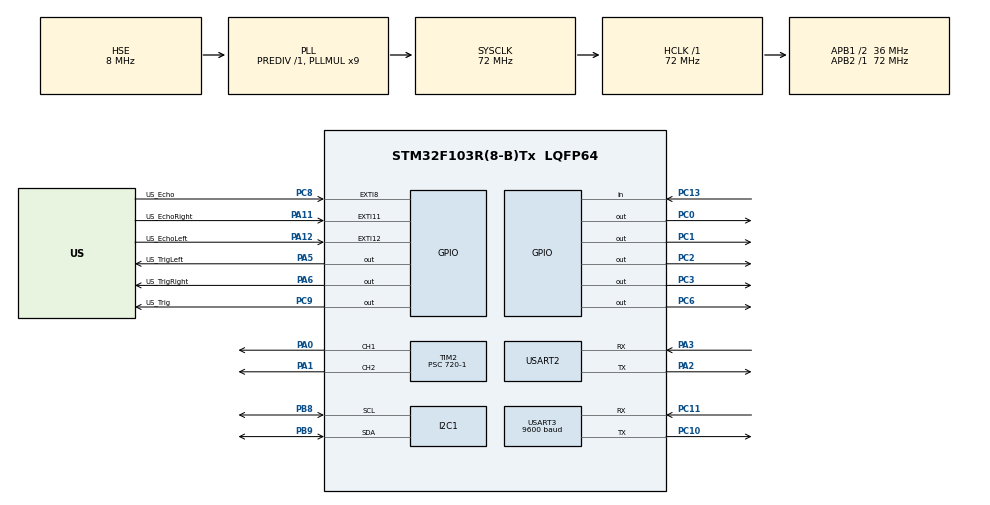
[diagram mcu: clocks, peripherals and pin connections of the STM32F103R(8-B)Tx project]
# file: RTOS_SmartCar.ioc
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FREERTOS.Mutexes01=LcdMutex,Dynamic,NULL
FREERTOS.Tasks01=defaultTask,0,128,StartDefaultTask,Default,NULL,Dynamic,NULL,NULL;Task_MotorContr,0,128,MotorControl_Task,Default,NULL,Dynamic,NULL,NULL;Task_DirControl,-3,128,DirController_Task,Default,NULL,Dynamic,NULL,NULL;Task_CarHorn,-3,128,CarHorn_Task,Default,NULL,Dynamic,NULL,NULL
FREERTOS.configUSE_NEWLIB_REENTRANT=1
Mcu.Family=STM32F1
Mcu.Name=STM32F103R(8-B)Tx
Mcu.Package=LQFP64
NVIC.EXTI15_10_IRQn=true\:5\:0\:false\:false\:true\:true\:true\:true
NVIC.EXTI9_5_IRQn=true\:5\:0\:false\:false\:true\:true\:true\:true
NVIC.PriorityGroup=NVIC_PRIORITYGROUP_4
NVIC.TIM4_IRQn=true\:15\:0\:false\:false\:true\:false\:false\:true
NVIC.TimeBase=TIM4_IRQn
NVIC.TimeBaseIP=TIM4
NVIC.USART3_IRQn=true\:5\:0\:false\:false\:true\:true\:true\:true
PA0-WKUP.Signal=S_TIM2_CH1_ETR
PA1.Signal=S_TIM2_CH2
PA11.GPIO_Label=US_EchoRight
PA11.GPIO_ModeDefaultEXTI=GPIO_MODE_IT_RISING_FALLING
PA11.Signal=GPXTI11
PA12.GPIO_Label=US_EchoLeft
PA12.GPIO_ModeDefaultEXTI=GPIO_MODE_IT_RISING_FALLING
PA12.Signal=GPXTI12
PA13.Mode=Serial_Wire
PA13.Signal=SYS_JTMS-SWDIO
PA14.Mode=Serial_Wire
PA14.Signal=SYS_JTCK-SWCLK
PA2.Mode=Asynchronous
PA2.Signal=USART2_TX
PA3.Mode=Asynchronous
PA3.Signal=USART2_RX
PA5.GPIO_Label=US_TrigLeft
PA5.Signal=GPIO_Output
PA6.GPIO_Label=US_TrigRight
PA6.Signal=GPIO_Output
PB8.Mode=I2C
PB8.Signal=I2C1_SCL
PB9.Mode=I2C
PB9.Signal=I2C1_SDA
PC0.Signal=GPIO_Output
PC1.Signal=GPIO_Output
PC10.Mode=Asynchronous
PC10.Signal=USART3_TX
PC11.Mode=Asynchronous
PC11.Signal=USART3_RX
PC13-TAMPER-RTC.Signal=GPIO_Input
PC2.Signal=GPIO_Output
PC3.Signal=GPIO_Output
PC6.Signal=GPIO_Output
PC8.GPIO_Label=US_Echo
PC8.GPIO_ModeDefaultEXTI=GPIO_MODE_IT_RISING_FALLING
PC8.Signal=GPXTI8
PC9.GPIO_Label=US_Trig
PC9.Signal=GPIO_Output
PD0-OSC_IN.Mode=HSE-External-Oscillator
PD0-OSC_IN.Signal=RCC_OSC_IN
PD1-OSC_OUT.Mode=HSE-External-Oscillator
PD1-OSC_OUT.Signal=RCC_OSC_OUT
ProjectManager.HeapSize=0x200
ProjectManager.StackSize=0x400
ProjectManager.TargetToolchain=STM32CubeIDE
RCC.AHBFreq_Value=72000000
RCC.APB1CLKDivider=RCC_HCLK_DIV2
RCC.APB1Freq_Value=36000000
RCC.APB1TimFreq_Value=72000000
RCC.APB2Freq_Value=72000000
RCC.APB2TimFreq_Value=72000000
RCC.HCLKFreq_Value=72000000
RCC.PLLMUL=RCC_PLL_MUL9
RCC.PLLSourceVirtual=RCC_PLLSOURCE_HSE
RCC.SYSCLKFreq_VALUE=72000000
RCC.SYSCLKSource=RCC_SYSCLKSOURCE_PLLCLK
RCC.USBFreq_Value=72000000
SH.S_TIM2_CH1_ETR.0=TIM2_CH1,PWM Generation1 CH1
SH.S_TIM2_CH2.0=TIM2_CH2,PWM Generation2 CH2
TIM2.AutoReloadPreload=TIM_AUTORELOAD_PRELOAD_ENABLE
TIM2.Channel-PWM\ Generation1\ CH1=TIM_CHANNEL_1
TIM2.Channel-PWM\ Generation2\ CH2=TIM_CHANNEL_2
TIM2.OCFastMode_PWM-PWM\ Generation1\ CH1=TIM_OCFAST_ENABLE
TIM2.OCFastMode_PWM-PWM\ Generation2\ CH2=TIM_OCFAST_ENABLE
TIM2.Period=100-1
TIM2.Prescaler=720-1
TIM2.Pulse-PWM\ Generation1\ CH1=70
TIM2.Pulse-PWM\ Generation2\ CH2=70
TIM3.Prescaler=720-1
USART2.VirtualMode=VM_ASYNC
USART3.BaudRate=9600
USART3.VirtualMode=VM_ASYNC
VP_FREERTOS_VS_CMSIS_V1.Mode=CMSIS_V1
VP_SYS_VS_tim4.Mode=TIM4
VP_TIM2_VS_ClockSourceINT.Mode=Internal
VP_TIM3_VS_ClockSourceINT.Mode=Internal
board=custom

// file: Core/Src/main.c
/* USER CODE BEGIN Header */
/**
  ******************************************************************************
  * @file           : main.c
  * @brief          : Main program body
  ******************************************************************************
  * @attention
  *
  * Copyright (c) 2022 STMicroelectronics.
  * All rights reserved.
  *
  * This software is licensed under terms that can be found in the LICENSE file
  * in the root directory of this software component.
  * If no LICENSE file comes with this software, it is provided AS-IS.
  *
  ******************************************************************************
  */
/* USER CODE END Header */
#include "main.h"
#include "cmsis_os.h"

/* USER CODE BEGIN Includes */
#include <stdio.h>
#include <string.h>
/* USER CODE END Includes */

I2C_HandleTypeDef hi2c1;

TIM_HandleTypeDef htim2;
TIM_HandleTypeDef htim3;

UART_HandleTypeDef huart2;
UART_HandleTypeDef huart3;

osThreadId defaultTaskHandle;
osThreadId Task_MotorContrHandle;
osThreadId Task_DirControlHandle;
osThreadId Task_CarHornHandle;
osMutexId LcdMutexHandle;

void SystemClock_Config(void);
static void MX_GPIO_Init(void);
static void MX_TIM2_Init(void);
static void MX_TIM3_Init(void);
static void MX_USART2_UART_Init(void);
static void MX_I2C1_Init(void);
static void MX_USART3_UART_Init(void);
void StartDefaultTask(void const * argument);
void MotorControl_Task(void const * argument);
void DirController_Task(void const * argument);
void CarHorn_Task(void const * argument);

/* USER CODE BEGIN 0 */
void HAL_GPIO_EXTI_Callback(uint16_t GPIO_Pin) {
	if(GPIO_Pin == GPIO_PIN_8) {	// Front
		if(HAL_GPIO_ReadPin(US_Echo_GPIO_Port, US_Echo_Pin)) {		// Rising, Transmit sound
			US_StartCount(&hUS_FrontSensor);
		} else {	// Falling, Receive sound
			US_ReadCount(&hUS_FrontSensor);
		}
	}

	if(GPIO_Pin == GPIO_PIN_12) {	// Left
		if(HAL_GPIO_ReadPin(US_EchoLeft_GPIO_Port, US_EchoLeft_Pin)) {		// Rising, Transmit sound
			US_StartCount(&hUS_LeftSensor);
		} else {	// Falling, Receive sound
			US_ReadCount(&hUS_LeftSensor);
		}
	}

	if(GPIO_Pin == GPIO_PIN_11) {	// Right
		if(HAL_GPIO_ReadPin(US_EchoRight_GPIO_Port, US_EchoRight_Pin)) {		// Rising, Transmit sound
			US_StartCount(&hUS_RightSensor);
		} else {	// Falling, Receive sound
			US_ReadCount(&hUS_RightSensor);
		}
	}
}

volatile uint8_t bleRxData;		// volatile -> �????�� 최적?�� 금�?

void HAL_UART_RxCpltCallback(UART_HandleTypeDef *huart) {
  if(huart->Instance == USART3) {
	  BLE_ISR_Process(bleRxData);
	  HAL_UART_Receive_IT(&huart3, &bleRxData, 1);
  }
}
/* USER CODE END 0 */

int main(void)
{

  /* MCU Configuration--------------------------------------------------------*/

  /* Reset of all peripherals, Initializes the Flash interface and the Systick. */
  HAL_Init();

  /* Configure the system clock */
  SystemClock_Config();

  /* Initialize all configured peripherals */
  MX_GPIO_Init();
  MX_TIM2_Init();
  MX_TIM3_Init();
  MX_USART2_UART_Init();
  MX_I2C1_Init();
  MX_USART3_UART_Init();
  /* USER CODE BEGIN 2 */
  LCD_Init();
  HAL_UART_Receive_IT(&huart3, &bleRxData, 1);
  /* USER CODE END 2 */

  /* Create the mutex(es) */
  /* definition and creation of LcdMutex */
  osMutexDef(LcdMutex);
  LcdMutexHandle = osMutexCreate(osMutex(LcdMutex));

  /* Create the thread(s) */
  /* definition and creation of defaultTask */
  osThreadDef(defaultTask, StartDefaultTask, osPriorityNormal, 0, 128);
  defaultTaskHandle = osThreadCreate(osThread(defaultTask), NULL);

  /* definition and creation of Task_MotorContr */
  osThreadDef(Task_MotorContr, MotorControl_Task, osPriorityNormal, 0, 128);
  Task_MotorContrHandle = osThreadCreate(osThread(Task_MotorContr), NULL);

  /* definition and creation of Task_DirControl */
  osThreadDef(Task_DirControl, DirController_Task, osPriorityIdle, 0, 128);
  Task_DirControlHandle = osThreadCreate(osThread(Task_DirControl), NULL);

  /* definition and creation of Task_CarHorn */
  osThreadDef(Task_CarHorn, CarHorn_Task, osPriorityIdle, 0, 128);
  Task_CarHornHandle = osThreadCreate(osThread(Task_CarHorn), NULL);

  /* Start scheduler */
  osKernelStart();

  /* We should never get here as control is now taken by the scheduler */
  /* Infinite loop */
  while (1)
  {

  }
}

void SystemClock_Config(void)
{
  RCC_OscInitTypeDef RCC_OscInitStruct = {0};
  RCC_ClkInitTypeDef RCC_ClkInitStruct = {0};

  /** Initializes the RCC Oscillators according to the specified parameters
  * in the RCC_OscInitTypeDef structure.
  */
  RCC_OscInitStruct.OscillatorType = RCC_OSCILLATORTYPE_HSE;
  RCC_OscInitStruct.HSEState = RCC_HSE_ON;
  RCC_OscInitStruct.HSEPredivValue = RCC_HSE_PREDIV_DIV1;
  RCC_OscInitStruct.HSIState = RCC_HSI_ON;
  RCC_OscInitStruct.PLL.PLLState = RCC_PLL_ON;
  RCC_OscInitStruct.PLL.PLLSource = RCC_PLLSOURCE_HSE;
  RCC_OscInitStruct.PLL.PLLMUL = RCC_PLL_MUL9;
  if (HAL_RCC_OscConfig(&RCC_OscInitStruct) != HAL_OK)
  {
    Error_Handler();
  }
  /** Initializes the CPU, AHB and APB buses clocks
  */
  RCC_ClkInitStruct.ClockType = RCC_CLOCKTYPE_HCLK|RCC_CLOCKTYPE_SYSCLK
                              |RCC_CLOCKTYPE_PCLK1|RCC_CLOCKTYPE_PCLK2;
  RCC_ClkInitStruct.SYSCLKSource = RCC_SYSCLKSOURCE_PLLCLK;
  RCC_ClkInitStruct.AHBCLKDivider = RCC_SYSCLK_DIV1;
  RCC_ClkInitStruct.APB1CLKDivider = RCC_HCLK_DIV2;
  RCC_ClkInitStruct.APB2CLKDivider = RCC_HCLK_DIV1;

  if (HAL_RCC_ClockConfig(&RCC_ClkInitStruct, FLASH_LATENCY_2) != HAL_OK)
  {
    Error_Handler();
  }
}

static void MX_I2C1_Init(void)
{

  hi2c1.Instance = I2C1;
  hi2c1.Init.ClockSpeed = 100000;
  hi2c1.Init.DutyCycle = I2C_DUTYCYCLE_2;
  hi2c1.Init.OwnAddress1 = 0;
  hi2c1.Init.AddressingMode = I2C_ADDRESSINGMODE_7BIT;
  hi2c1.Init.DualAddressMode = I2C_DUALADDRESS_DISABLE;
  hi2c1.Init.OwnAddress2 = 0;
  hi2c1.Init.GeneralCallMode = I2C_GENERALCALL_DISABLE;
  hi2c1.Init.NoStretchMode = I2C_NOSTRETCH_DISABLE;
  if (HAL_I2C_Init(&hi2c1) != HAL_OK)
  {
    Error_Handler();
  }

}

static void MX_TIM2_Init(void)
{

  TIM_ClockConfigTypeDef sClockSourceConfig = {0};
  TIM_MasterConfigTypeDef sMasterConfig = {0};
  TIM_OC_InitTypeDef sConfigOC = {0};

  htim2.Instance = TIM2;
  htim2.Init.Prescaler = 720-1;
  htim2.Init.CounterMode = TIM_COUNTERMODE_UP;
  htim2.Init.Period = 100-1;
  htim2.Init.ClockDivision = TIM_CLOCKDIVISION_DIV1;
  htim2.Init.AutoReloadPreload = TIM_AUTORELOAD_PRELOAD_ENABLE;
  if (HAL_TIM_Base_Init(&htim2) != HAL_OK)
  {
    Error_Handler();
  }
  sClockSourceConfig.ClockSource = TIM_CLOCKSOURCE_INTERNAL;
  if (HAL_TIM_ConfigClockSource(&htim2, &sClockSourceConfig) != HAL_OK)
  {
    Error_Handler();
  }
  if (HAL_TIM_PWM_Init(&htim2) != HAL_OK)
  {
    Error_Handler();
  }
  sMasterConfig.MasterOutputTrigger = TIM_TRGO_RESET;
  sMasterConfig.MasterSlaveMode = TIM_MASTERSLAVEMODE_DISABLE;
  if (HAL_TIMEx_MasterConfigSynchronization(&htim2, &sMasterConfig) != HAL_OK)
  {
    Error_Handler();
  }
  sConfigOC.OCMode = TIM_OCMODE_PWM1;
  sConfigOC.Pulse = 70;
  sConfigOC.OCPolarity = TIM_OCPOLARITY_HIGH;
  sConfigOC.OCFastMode = TIM_OCFAST_ENABLE;
  if (HAL_TIM_PWM_ConfigChannel(&htim2, &sConfigOC, TIM_CHANNEL_1) != HAL_OK)
  {
    Error_Handler();
  }
  if (HAL_TIM_PWM_ConfigChannel(&htim2, &sConfigOC, TIM_CHANNEL_2) != HAL_OK)
  {
    Error_Handler();
  }
  HAL_TIM_MspPostInit(&htim2);

}

static void MX_TIM3_Init(void)
{

  TIM_ClockConfigTypeDef sClockSourceConfig = {0};
  TIM_MasterConfigTypeDef sMasterConfig = {0};

  htim3.Instance = TIM3;
  htim3.Init.Prescaler = 720-1;
  htim3.Init.CounterMode = TIM_COUNTERMODE_UP;
  htim3.Init.Period = 65535;
  htim3.Init.ClockDivision = TIM_CLOCKDIVISION_DIV1;
  htim3.Init.AutoReloadPreload = TIM_AUTORELOAD_PRELOAD_DISABLE;
  if (HAL_TIM_Base_Init(&htim3) != HAL_OK)
  {
    Error_Handler();
  }
  sClockSourceConfig.ClockSource = TIM_CLOCKSOURCE_INTERNAL;
  if (HAL_TIM_ConfigClockSource(&htim3, &sClockSourceConfig) != HAL_OK)
  {
    Error_Handler();
  }
  sMasterConfig.MasterOutputTrigger = TIM_TRGO_RESET;
  sMasterConfig.MasterSlaveMode = TIM_MASTERSLAVEMODE_DISABLE;
  if (HAL_TIMEx_MasterConfigSynchronization(&htim3, &sMasterConfig) != HAL_OK)
  {
    Error_Handler();
  }

}

static void MX_USART2_UART_Init(void)
{

  huart2.Instance = USART2;
  huart2.Init.BaudRate = 115200;
  huart2.Init.WordLength = UART_WORDLENGTH_8B;
  huart2.Init.StopBits = UART_STOPBITS_1;
  huart2.Init.Parity = UART_PARITY_NONE;
  huart2.Init.Mode = UART_MODE_TX_RX;
  huart2.Init.HwFlowCtl = UART_HWCONTROL_NONE;
  huart2.Init.OverSampling = UART_OVERSAMPLING_16;
  if (HAL_UART_Init(&huart2) != HAL_OK)
  {
    Error_Handler();
  }

}

static void MX_USART3_UART_Init(void)
{

  huart3.Instance = USART3;
  huart3.Init.BaudRate = 9600;
  huart3.Init.WordLength = UART_WORDLENGTH_8B;
  huart3.Init.StopBits = UART_STOPBITS_1;
  huart3.Init.Parity = UART_PARITY_NONE;
  huart3.Init.Mode = UART_MODE_TX_RX;
  huart3.Init.HwFlowCtl = UART_HWCONTROL_NONE;
  huart3.Init.OverSampling = UART_OVERSAMPLING_16;
  if (HAL_UART_Init(&huart3) != HAL_OK)
  {
    Error_Handler();
  }

}

static void MX_GPIO_Init(void)
{
  GPIO_InitTypeDef GPIO_InitStruct = {0};

  /* GPIO Ports Clock Enable */
  __HAL_RCC_GPIOC_CLK_ENABLE();
  __HAL_RCC_GPIOD_CLK_ENABLE();
  __HAL_RCC_GPIOA_CLK_ENABLE();
  __HAL_RCC_GPIOB_CLK_ENABLE();

  /*Configure GPIO pin Output Level */
  HAL_GPIO_WritePin(GPIOC, GPIO_PIN_0|GPIO_PIN_1|GPIO_PIN_2|GPIO_PIN_3
                          |GPIO_PIN_6|US_Trig_Pin, GPIO_PIN_RESET);

  /*Configure GPIO pin Output Level */
  HAL_GPIO_WritePin(GPIOA, US_TrigLeft_Pin|US_TrigRight_Pin, GPIO_PIN_RESET);

  /*Configure GPIO pin : PC13 */
  GPIO_InitStruct.Pin = GPIO_PIN_13;
  GPIO_InitStruct.Mode = GPIO_MODE_INPUT;
  GPIO_InitStruct.Pull = GPIO_NOPULL;
  HAL_GPIO_Init(GPIOC, &GPIO_InitStruct);

  /*Configure GPIO pins : PC0 PC1 PC2 PC3
                           PC6 US_Trig_Pin */
  GPIO_InitStruct.Pin = GPIO_PIN_0|GPIO_PIN_1|GPIO_PIN_2|GPIO_PIN_3
                          |GPIO_PIN_6|US_Trig_Pin;
  GPIO_InitStruct.Mode = GPIO_MODE_OUTPUT_PP;
  GPIO_InitStruct.Pull = GPIO_NOPULL;
  GPIO_InitStruct.Speed = GPIO_SPEED_FREQ_LOW;
  HAL_GPIO_Init(GPIOC, &GPIO_InitStruct);

  /*Configure GPIO pins : US_TrigLeft_Pin US_TrigRight_Pin */
  GPIO_InitStruct.Pin = US_TrigLeft_Pin|US_TrigRight_Pin;
  GPIO_InitStruct.Mode = GPIO_MODE_OUTPUT_PP;
  GPIO_InitStruct.Pull = GPIO_NOPULL;
  GPIO_InitStruct.Speed = GPIO_SPEED_FREQ_LOW;
  HAL_GPIO_Init(GPIOA, &GPIO_InitStruct);

  /*Configure GPIO pin : US_Echo_Pin */
  GPIO_InitStruct.Pin = US_Echo_Pin;
  GPIO_InitStruct.Mode = GPIO_MODE_IT_RISING_FALLING;
  GPIO_InitStruct.Pull = GPIO_NOPULL;
  HAL_GPIO_Init(US_Echo_GPIO_Port, &GPIO_InitStruct);

  /*Configure GPIO pins : US_EchoRight_Pin US_EchoLeft_Pin */
  GPIO_InitStruct.Pin = US_EchoRight_Pin|US_EchoLeft_Pin;
  GPIO_InitStruct.Mode = GPIO_MODE_IT_RISING_FALLING;
  GPIO_InitStruct.Pull = GPIO_NOPULL;
  HAL_GPIO_Init(GPIOA, &GPIO_InitStruct);

  /* EXTI interrupt init*/
  HAL_NVIC_SetPriority(EXTI9_5_IRQn, 5, 0);
  HAL_NVIC_EnableIRQ(EXTI9_5_IRQn);

  HAL_NVIC_SetPriority(EXTI15_10_IRQn, 5, 0);
  HAL_NVIC_EnableIRQ(EXTI15_10_IRQn);

}

void StartDefaultTask(void const * argument)
{
	for(;;) {
		osDelay(1);
	}
}

void MotorControl_Task(void const * argument)
{
  /* USER CODE BEGIN MotorControl_Task */
	/* Infinite loop */
	for(;;) {
		SmartCar_Excute();
		Motor_Excute();
		osDelay(1);
	}
  /* USER CODE END MotorControl_Task */
}

void DirController_Task(void const * argument)
{
  /* USER CODE BEGIN DirController_Task */
	/* Infinite loop */
	for(;;) {
		DirControl_Excute();
		osDelay(1);
	}
  /* USER CODE END DirController_Task */
}

void CarHorn_Task(void const * argument)
{
  /* USER CODE BEGIN CarHorn_Task */
	/* Infinite loop */
	for(;;) {
		CarHorn_Excute();
		osDelay(1);
	}
  /* USER CODE END CarHorn_Task */
}

void HAL_TIM_PeriodElapsedCallback(TIM_HandleTypeDef *htim)
{
  if (htim->Instance == TIM4) {
    HAL_IncTick();
  }
}

void Error_Handler(void)
{
  __disable_irq();
  while (1)
  {
  }
}
